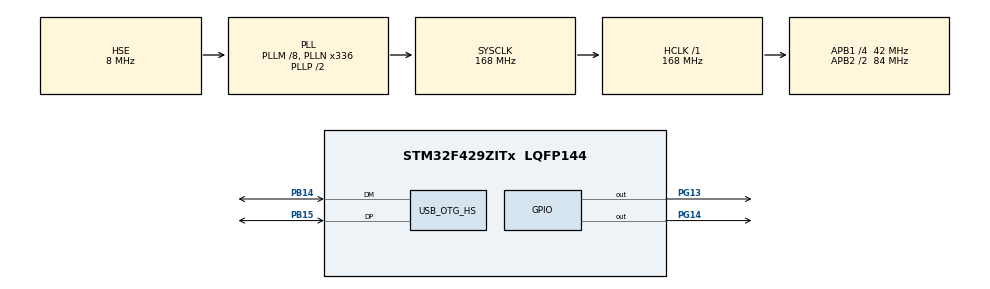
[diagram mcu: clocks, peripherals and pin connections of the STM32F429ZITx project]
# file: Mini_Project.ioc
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FREERTOS.Queues01=Queue01,16,uint16_t,0,Dynamic,NULL,NULL
FREERTOS.Tasks01=Task01,24,128,StartTask01,Default,NULL,Dynamic,NULL,NULL;Task02,24,128,StartTask02,Default,NULL,Dynamic,NULL,NULL;Task03,24,128,StartTask03,Default,NULL,Dynamic,NULL,NULL;Task04,24,128,StartTask04,Default,NULL,Dynamic,NULL,NULL
Mcu.Family=STM32F4
Mcu.Name=STM32F429ZITx
Mcu.Package=LQFP144
NVIC.OTG_HS_IRQn=true\:5\:0\:false\:false\:true\:true\:true\:true\:true
NVIC.PriorityGroup=NVIC_PRIORITYGROUP_4
NVIC.TIM6_DAC_IRQn=true\:15\:0\:false\:false\:true\:false\:false\:true\:true
NVIC.TimeBase=TIM6_DAC_IRQn
NVIC.TimeBaseIP=TIM6
PA13.Mode=Serial_Wire
PA13.Signal=SYS_JTMS-SWDIO
PA14.Mode=Serial_Wire
PA14.Signal=SYS_JTCK-SWCLK
PB14.Mode=Device_Only_FS
PB14.Signal=USB_OTG_HS_DM
PB15.Mode=Device_Only_FS
PB15.Signal=USB_OTG_HS_DP
PG13.GPIO_Speed=GPIO_SPEED_FREQ_HIGH
PG13.Signal=GPIO_Output
PG14.GPIO_Speed=GPIO_SPEED_FREQ_HIGH
PG14.Signal=GPIO_Output
PH0/OSC_IN.Mode=HSE-External-Oscillator
PH0/OSC_IN.Signal=RCC_OSC_IN
PH1/OSC_OUT.Mode=HSE-External-Oscillator
PH1/OSC_OUT.Signal=RCC_OSC_OUT
ProjectManager.HeapSize=0x2000
ProjectManager.StackSize=0x400
ProjectManager.TargetToolchain=STM32CubeIDE
RCC.48MHZClocksFreq_Value=48000000
RCC.AHBFreq_Value=168000000
RCC.APB1CLKDivider=RCC_HCLK_DIV4
RCC.APB1Freq_Value=42000000
RCC.APB1TimFreq_Value=84000000
RCC.APB2CLKDivider=RCC_HCLK_DIV2
RCC.APB2Freq_Value=84000000
RCC.APB2TimFreq_Value=168000000
RCC.CortexFreq_Value=168000000
RCC.HCLKFreq_Value=168000000
RCC.HSE_VALUE=8000000
RCC.HSI_VALUE=16000000
RCC.LSE_VALUE=32768
RCC.PLLM=8
RCC.PLLN=336
RCC.PLLQ=7
RCC.SYSCLKFreq_VALUE=168000000
RCC.SYSCLKSource=RCC_SYSCLKSOURCE_PLLCLK
RCC.VCOOutputFreq_Value=336000000
USB_DEVICE.CLASS_NAME_HS=CDC
USB_DEVICE.VirtualMode-CDC_HS=Cdc
USB_DEVICE.VirtualModeHS=Cdc_HS
USB_OTG_HS.VirtualMode-Device_Only_FS=Device_Only_FS
VP_FREERTOS_VS_CMSIS_V2.Mode=CMSIS_V2
VP_SYS_VS_tim6.Mode=TIM6
VP_USB_DEVICE_VS_USB_DEVICE_CDC_HS.Mode=CDC_HS
board=custom

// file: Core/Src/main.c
/* USER CODE BEGIN Header */
/**
  ******************************************************************************
  * @file           : main.c
  * @brief          : Main program body
  ******************************************************************************
  * @attention
  *
  * Copyright (c) 2023 STMicroelectronics.
  * All rights reserved.
  *
  * This software is licensed under terms that can be found in the LICENSE file
  * in the root directory of this software component.
  * If no LICENSE file comes with this software, it is provided AS-IS.
  *
  ******************************************************************************
  */
/* USER CODE END Header */
#include "main.h"
#include "cmsis_os.h"
#include "usb_device.h"

/* USER CODE BEGIN Includes */
#include "usbd_cdc_if.h"
#include "stm32f429i_discovery_sdram.h"
#include "stm32f429i_discovery_lcd.h"
#include "stm32f429i_discovery_gyroscope.h"
/* USER CODE END Includes */

/* USER CODE BEGIN PTD */
typedef struct{
	int Buf[6];
} Mymessage;
/* USER CODE END PTD */

/* USER CODE BEGIN PD */
uint8_t buf1[10];
uint8_t buf2[10];
int realScore = 0;	//tính điểm
int flag = 0;		//cờ tổng để báo khi nào trò chơi kết thúc
int radius = 20;	//bán kính để vẽ hình tròn lên LCD, cũng là chiều cao
int hitflag = 0;	//cờ báo khi vợt đã đánh trúng bóng
float gyroValue[3];	//mảng 3 số thực để lấy giá trị của gyroscope
int X_circle = 115;
int Y_circle = 150;
/* USER CODE END PD */

/* Definitions for Task01 */
osThreadId_t Task01Handle;
const osThreadAttr_t Task01_attributes = {
  .name = "Task01",
  .stack_size = 128 * 4,
  .priority = (osPriority_t) osPriorityNormal,
};
/* Definitions for Task02 */
osThreadId_t Task02Handle;
const osThreadAttr_t Task02_attributes = {
  .name = "Task02",
  .stack_size = 128 * 4,
  .priority = (osPriority_t) osPriorityNormal,
};
/* Definitions for Task03 */
osThreadId_t Task03Handle;
const osThreadAttr_t Task03_attributes = {
  .name = "Task03",
  .stack_size = 128 * 4,
  .priority = (osPriority_t) osPriorityNormal,
};
/* Definitions for Task04 */
osThreadId_t Task04Handle;
const osThreadAttr_t Task04_attributes = {
  .name = "Task04",
  .stack_size = 128 * 4,
  .priority = (osPriority_t) osPriorityNormal,
};
/* Definitions for Queue01 */
osMessageQueueId_t Queue01Handle;
const osMessageQueueAttr_t Queue01_attributes = {
  .name = "Queue01"
};

void SystemClock_Config(void);
static void MX_GPIO_Init(void);
void StartTask01(void *argument);
void StartTask02(void *argument);
void StartTask03(void *argument);
void StartTask04(void *argument);

int main(void)
{

  /* MCU Configuration--------------------------------------------------------*/

  /* Reset of all peripherals, Initializes the Flash interface and the Systick. */
  HAL_Init();

  /* Configure the system clock */
  SystemClock_Config();

  /* Initialize all configured peripherals */
  MX_GPIO_Init();
  /* USER CODE BEGIN 2 */
  BSP_SDRAM_Init();
  MX_USB_DEVICE_Init();
  BSP_GYRO_Init();
  BSP_LCD_Init();//init LCD
  BSP_LCD_LayerDefaultInit(1, SDRAM_DEVICE_ADDR);//set the layer buffer address into SDRAM
  BSP_LCD_SelectLayer(1);//select on which layer we write
  BSP_LCD_DisplayOn();//turn on LCD
  BSP_LCD_Clear(LCD_COLOR_BLUE);//clear the LCD on blue color
  BSP_LCD_SetBackColor(LCD_COLOR_BLUE);//set text background color
  BSP_LCD_SetTextColor(LCD_COLOR_WHITE);//set text color
  /* USER CODE END 2 */

  /* Init scheduler */
  osKernelInitialize();

  /* Create the queue(s) */
  /* creation of Queue01 */
  Queue01Handle = osMessageQueueNew (16, sizeof(Mymessage), &Queue01_attributes);

  /* Create the thread(s) */
  /* creation of Task01 */
  Task01Handle = osThreadNew(StartTask01, NULL, &Task01_attributes);

  /* creation of Task02 */
  Task02Handle = osThreadNew(StartTask02, NULL, &Task02_attributes);

  /* creation of Task03 */
  Task03Handle = osThreadNew(StartTask03, NULL, &Task03_attributes);

  /* creation of Task04 */
  Task04Handle = osThreadNew(StartTask04, NULL, &Task04_attributes);

  /* Start scheduler */
  osKernelStart();

  /* We should never get here as control is now taken by the scheduler */
  /* Infinite loop */
  while (1)
  {

  }
}

void SystemClock_Config(void)
{
  RCC_OscInitTypeDef RCC_OscInitStruct = {0};
  RCC_ClkInitTypeDef RCC_ClkInitStruct = {0};

  /** Configure the main internal regulator output voltage
  */
  __HAL_RCC_PWR_CLK_ENABLE();
  __HAL_PWR_VOLTAGESCALING_CONFIG(PWR_REGULATOR_VOLTAGE_SCALE1);

  /** Initializes the RCC Oscillators according to the specified parameters
  * in the RCC_OscInitTypeDef structure.
  */
  RCC_OscInitStruct.OscillatorType = RCC_OSCILLATORTYPE_HSE;
  RCC_OscInitStruct.HSEState = RCC_HSE_ON;
  RCC_OscInitStruct.PLL.PLLState = RCC_PLL_ON;
  RCC_OscInitStruct.PLL.PLLSource = RCC_PLLSOURCE_HSE;
  RCC_OscInitStruct.PLL.PLLM = 8;
  RCC_OscInitStruct.PLL.PLLN = 336;
  RCC_OscInitStruct.PLL.PLLP = RCC_PLLP_DIV2;
  RCC_OscInitStruct.PLL.PLLQ = 7;
  if (HAL_RCC_OscConfig(&RCC_OscInitStruct) != HAL_OK)
  {
    Error_Handler();
  }

  /** Initializes the CPU, AHB and APB buses clocks
  */
  RCC_ClkInitStruct.ClockType = RCC_CLOCKTYPE_HCLK|RCC_CLOCKTYPE_SYSCLK
                              |RCC_CLOCKTYPE_PCLK1|RCC_CLOCKTYPE_PCLK2;
  RCC_ClkInitStruct.SYSCLKSource = RCC_SYSCLKSOURCE_PLLCLK;
  RCC_ClkInitStruct.AHBCLKDivider = RCC_SYSCLK_DIV1;
  RCC_ClkInitStruct.APB1CLKDivider = RCC_HCLK_DIV4;
  RCC_ClkInitStruct.APB2CLKDivider = RCC_HCLK_DIV2;

  if (HAL_RCC_ClockConfig(&RCC_ClkInitStruct, FLASH_LATENCY_5) != HAL_OK)
  {
    Error_Handler();
  }
}

static void MX_GPIO_Init(void)
{
  GPIO_InitTypeDef GPIO_InitStruct = {0};

  /* GPIO Ports Clock Enable */
  __HAL_RCC_GPIOH_CLK_ENABLE();
  __HAL_RCC_GPIOB_CLK_ENABLE();
  __HAL_RCC_GPIOA_CLK_ENABLE();
  __HAL_RCC_GPIOG_CLK_ENABLE();

  /*Configure GPIO pin Output Level */
  HAL_GPIO_WritePin(GPIOG, GPIO_PIN_13|GPIO_PIN_14, GPIO_PIN_RESET);

  /*Configure GPIO pins : PG13 PG14 */
  GPIO_InitStruct.Pin = GPIO_PIN_13|GPIO_PIN_14;
  GPIO_InitStruct.Mode = GPIO_MODE_OUTPUT_PP;
  GPIO_InitStruct.Pull = GPIO_NOPULL;
  GPIO_InitStruct.Speed = GPIO_SPEED_FREQ_HIGH;
  HAL_GPIO_Init(GPIOG, &GPIO_InitStruct);

}

void StartTask01(void *argument)
{

  /* USER CODE BEGIN 5 */
	  Mymessage SendX;
	  /* Infinite loop */
	  for(;;)
	  {
		if(flag == 0)
		{
		L3GD20_ReadXYZAngRate(gyroValue);
		SendX.Buf[0] = (int)gyroValue[0]/1500;
		SendX.Buf[1] = (int)gyroValue[1];
		SendX.Buf[2] = (int)gyroValue[2];
		if (abs(SendX.Buf[0]) > 20)
		{
			hitflag = 1;
			osMessageQueuePut(Queue01Handle, &SendX, 0, 0);
		}
		else
		{
			hitflag = 0;
		}
	    osDelay(250);
		}
	  }
  /* USER CODE END 5 */
}

void StartTask02(void *argument)
{
  /* USER CODE BEGIN StartTask02 */
		int temp;
		BSP_LCD_FillCircle(X_circle, Y_circle, radius);
		Mymessage GetX;
		for(;;)
		{
			if (hitflag == 1 && flag == 0)
			{
				osMessageQueueGet(Queue01Handle, &GetX, 0, 0);
				temp = GetX.Buf[0];
				for (int i = 0; i <= temp; i = i + 10)
				{
					BSP_LCD_Clear(LCD_COLOR_BLUE);
					BSP_LCD_FillCircle(X_circle, Y_circle, radius);
					radius = radius + 5;
					if(radius==50){
						realScore = realScore + 1;
						HAL_GPIO_WritePin(GPIOG, GPIO_PIN_13, GPIO_PIN_SET);
						osDelay(250);
						HAL_GPIO_WritePin(GPIOG, GPIO_PIN_13, GPIO_PIN_RESET);
					}
					if (radius > 90){
						break;
					}
					osDelay(100);
				}
				if(temp<=140)//Set lại giá trị temp khi tâng bóng không đủ lực
					temp = 200;
				for (int i = temp; i >= 0; i = i - 10)
				{
					BSP_LCD_Clear(LCD_COLOR_BLUE);
					BSP_LCD_FillCircle(X_circle, Y_circle, radius);
					radius = radius - 5;
					if (radius >= 20 && radius <= 50)
					{
						if(hitflag==1)
							break;
					}
					if (radius < 20)
					{
						flag = 1;
						break;
					}
					osDelay(100);
				}
			}
		}
  /* USER CODE END StartTask02 */
}

void StartTask03(void *argument)
{
  /* USER CODE BEGIN StartTask03 */
		for(;;)
		{
			sprintf(buf2, "\n%d", radius);
			CDC_Transmit_HS(buf2,sizeof(buf2));
			osDelay(100);
		}
  /* USER CODE END StartTask03 */
}

void StartTask04(void *argument)
{
  /* USER CODE BEGIN StartTask04 */
  /* Infinite loop */
  for(;;)
  {
		if (flag == 0)
		{
			sprintf((char*)buf1, "Score: %d", realScore);
			BSP_LCD_DisplayStringAtLine(1, buf1);
		}
		else if (flag == 1)
		{
			BSP_LCD_Clear(LCD_COLOR_RED);
			BSP_LCD_SetBackColor(LCD_COLOR_RED);
			BSP_LCD_DisplayStringAt(1,130,(uint8_t*)"GAME OVER", CENTER_MODE);
			BSP_LCD_DisplayStringAt(1,150,(uint8_t*)buf1,CENTER_MODE);
			HAL_GPIO_WritePin(GPIOG, GPIO_PIN_14, GPIO_PIN_SET);
			vTaskDelete(Task01Handle);
			vTaskDelete(Task02Handle);
			vTaskDelete(Task03Handle);
		}
  }
  /* USER CODE END StartTask04 */
}

void HAL_TIM_PeriodElapsedCallback(TIM_HandleTypeDef *htim)
{
  if (htim->Instance == TIM6) {
    HAL_IncTick();
  }
}

void Error_Handler(void)
{
  __disable_irq();
  while (1)
  {
  }
}
